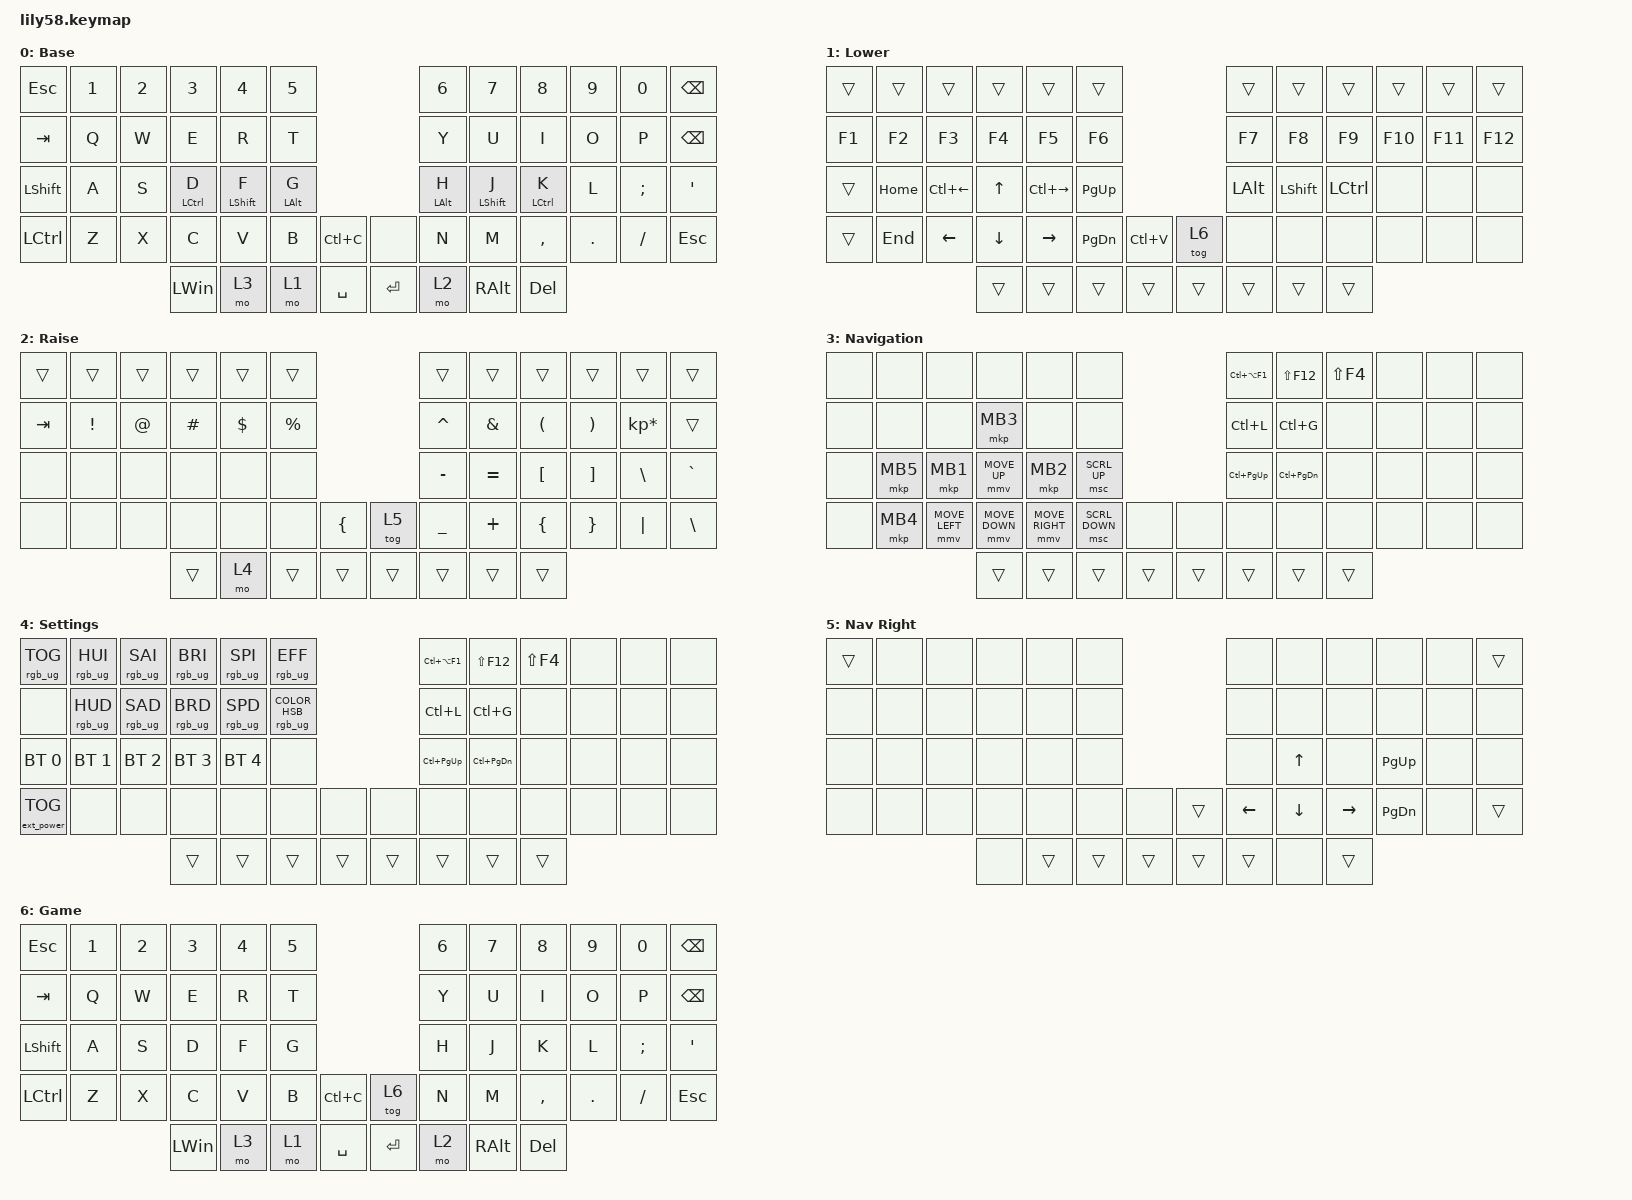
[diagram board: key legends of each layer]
/*
 * Copyright (c) 2020 The ZMK Contributors
 *
 * SPDX-License-Identifier: MIT
 */

#include <behaviors.dtsi>
#include <dt-bindings/zmk/bt.h>
#include <dt-bindings/zmk/ext_power.h>
#include <dt-bindings/zmk/keys.h>
#include <dt-bindings/zmk/pointing.h>
#include <dt-bindings/zmk/rgb.h>

&led_strip { chain-length = <35>; };

/ {
    behaviors {
        hml: home_row_mod_left {
            compatible = "zmk,behavior-hold-tap";
            label = "HML";
            bindings = <&kp>, <&kp>;

            #binding-cells = <2>;
            tapping-term-ms = <280>;
            quick-tap-ms = <175>;
            require-prior-idle-ms = <75>;
            flavor = "balanced";
            hold-trigger-on-release;
            hold-trigger-key-positions = <54 43 55 57 56 44 45 46 47 48 49 35 34 33 32 31 30 18 19 20 21 23 22 6 7 8 9 10 11>;
        };

        hmr: home_row_mod_right {
            compatible = "zmk,behavior-hold-tap";
            label = "HMR";
            bindings = <&kp>, <&kp>;

            #binding-cells = <2>;
            tapping-term-ms = <280>;
            quick-tap-ms = <175>;
            require-prior-idle-ms = <75>;
            flavor = "balanced";
            hold-trigger-on-release;
            hold-trigger-key-positions = <0 2 1 5 3 4 12 13 14 16 17 15 24 36 25 37 26 38 27 39 28 40 29 41 42 53 52 51 50>;
        };
    };

    keymap {
        compatible = "zmk,keymap";

        default_layer {
            // ------------------------------------------------------------------------------------------------------------
            // |  ESC  |  1  |  2  |  3   |  4   |  5   |                   |  6   |  7    |  8    |  9   |   0   |   `   |
            // |  TAB  |  Q  |  W  |  E   |  R   |  T   |                   |  Y   |  U    |  I    |  O   |   P   |   -   |
            // |  CTRL |  A  |  S  |  D   |  F   |  G   |                   |  H   |  J    |  K    |  L   |   ;   |   '   |
            // | SHIFT |  Z  |  X  |  C   |  V   |  B   |   "["  |  |  "]"  |  N   |  M    |  ,    |  .   |   /   | SHIFT |
            //                     | ALT  | GUI  | LOWER|  SPACE |  | ENTER | RAISE| BSPC  | GUI   |

            display-name = "Base";
            bindings = <
&kp ESC           &kp N1  &kp N2  &kp N3               &kp N4             &kp N5                                 &kp N6           &kp N7             &kp N8               &kp N9   &kp N0    &kp BACKSPACE
&kp TAB           &kp Q   &kp W   &kp E                &kp R              &kp T                                  &kp Y            &kp U              &kp I                &kp O    &kp P     &kp BACKSPACE
&kp LEFT_SHIFT    &kp A   &kp S   &hml LEFT_CONTROL D  &hml LEFT_SHIFT F  &hml LEFT_ALT G                        &hmr LEFT_ALT H  &hmr LEFT_SHIFT J  &hmr LEFT_CONTROL K  &kp L    &kp SEMI  &kp SQT
&kp LEFT_CONTROL  &kp Z   &kp X   &kp C                &kp V              &kp B            &kp LC(C)    &none    &kp N            &kp M              &kp COMMA            &kp DOT  &kp FSLH  &kp ESCAPE
                                  &kp LEFT_WIN         &mo 3              &mo 1            &kp SPACE    &kp RET  &mo 2            &kp RIGHT_ALT      &kp DEL
            >;
        };

        lower_layer {
            // ------------------------------------------------------------------------------------------------------------
            // | BTCLR | BT1 | BT2 |  BT3 |  BT4 |  BT5 |                   |      |       |       |      |       |       |
            // |  F1   |  F2 |  F3 |  F4  |  F5  |  F6  |                   |  F7  |  F8   |  F9   |  F10 |  F11  |  F12  |
            // |   `   |  !  |  @  |  #   |  $   |  %   |                   |  ^   |  &    |  *    |  (   |   )   |   ~   |
            // |       |     |     |      |      |      |        |  |       |      |  _    |  +    |  {   |   }   |  "|"  |
            //                     |      |      |      |        |  |       |      |       |       |

            display-name = "Lower";
            bindings = <
&trans  &trans    &trans          &trans          &trans           &trans                              &trans        &trans          &trans            &trans   &trans   &trans
&kp F1  &kp F2    &kp F3          &kp F4          &kp F5           &kp F6                              &kp F7        &kp F8          &kp F9            &kp F10  &kp F11  &kp F12
&trans  &kp HOME  &kp LC(LEFT)    &kp UP_ARROW    &kp LC(RIGHT)    &kp PAGE_UP                         &kp LEFT_ALT  &kp LEFT_SHIFT  &kp LEFT_CONTROL  &none    &none    &none
&trans  &kp END   &kp LEFT_ARROW  &kp DOWN_ARROW  &kp RIGHT_ARROW  &kp PAGE_DOWN  &kp LC(V)    &tog 6  &none         &none           &none             &none    &none    &none
                                  &trans          &trans           &trans         &trans       &trans  &trans        &trans          &trans
            >;
        };

        raise_layer {
            // ------------------------------------------------------------------------------------------------------------
            // |       |     |     |      |      |      |                   |      |       |       |      |       |       |
            // |   `   |  1  |  2  |  3   |  4   |  5   |                   |  6   |   7   |   8   |  9   |   0   |       |
            // |   F1  |  F2 |  F3 |  F4  |  F5  |  F6  |                   |      |   <-  |   v   |  ^   |  ->   |       |
            // |   F7  |  F8 |  F9 |  F10 |  F11 |  F12 |        |  |       |  +   |   -   |   =   |  [   |   ]   |   \   |
            //                     |      |      |      |        |  |       |      |       |       |

            display-name = "Raise";
            bindings = <
&trans   &trans    &trans  &trans    &trans      &trans                                 &trans          &trans         &trans                &trans                 &trans           &trans
&kp TAB  &kp EXCL  &kp AT  &kp HASH  &kp DOLLAR  &kp PERCENT                            &kp CARET       &kp AMPERSAND  &kp LEFT_PARENTHESIS  &kp RIGHT_PARENTHESIS  &kp KP_ASTERISK  &trans
&none    &none     &none   &none     &none       &none                                  &kp MINUS       &kp EQUAL      &kp LEFT_BRACKET      &kp RIGHT_BRACKET      &kp BACKSLASH    &kp GRAVE
&none    &none     &none   &none     &none       &none        &kp LEFT_BRACE    &tog 5  &kp UNDERSCORE  &kp PLUS       &kp LEFT_BRACE        &kp RIGHT_BRACE        &kp PIPE         &kp BSLH
                           &trans    &mo 4       &trans       &trans            &trans  &trans          &trans         &trans
            >;
        };

        navigation_layer {
            bindings = <
&none  &none     &none           &none           &none            &none                             &kp LC(LA(F1))   &kp LS(F12)        &kp LS(F4)  &none  &none  &none
&none  &none     &none           &mkp MB3        &none            &none                             &kp LC(L)        &kp LC(G)          &none       &none  &none  &none
&none  &mkp MB5  &mkp MB1        &mmv MOVE_UP    &mkp MB2         &msc SCRL_UP                      &kp LC(PAGE_UP)  &kp LC(PAGE_DOWN)  &none       &none  &none  &none
&none  &mkp MB4  &mmv MOVE_LEFT  &mmv MOVE_DOWN  &mmv MOVE_RIGHT  &msc SCRL_DOWN  &none     &none   &none            &none              &none       &none  &none  &none
                                 &trans          &trans           &trans          &trans    &trans  &trans           &trans             &trans
            >;

            label = "Navigation";
        };

        settings_layer {
            bindings = <
&rgb_ug RGB_TOG    &rgb_ug RGB_HUI  &rgb_ug RGB_SAI  &rgb_ug RGB_BRI  &rgb_ug RGB_SPI  &rgb_ug RGB_EFF                                   &kp LC(LA(F1))   &kp LS(F12)        &kp LS(F4)  &none  &none  &none
&none              &rgb_ug RGB_HUD  &rgb_ug RGB_SAD  &rgb_ug RGB_BRD  &rgb_ug RGB_SPD  &rgb_ug RGB_COLOR_HSB(0,0,100)                    &kp LC(L)        &kp LC(G)          &none       &none  &none  &none
&bt BT_SEL 0       &bt BT_SEL 1     &bt BT_SEL 2     &bt BT_SEL 3     &bt BT_SEL 4     &none                                             &kp LC(PAGE_UP)  &kp LC(PAGE_DOWN)  &none       &none  &none  &none
&ext_power EP_TOG  &none            &none            &none            &none            &none                           &none     &none   &none            &none              &none       &none  &none  &none
                                                     &trans           &trans           &trans                          &trans    &trans  &trans           &trans             &trans
            >;

            label = "Settings";
        };

        navigation_layer_right {
            bindings = <
&trans  &none  &none  &none  &none   &none                     &none           &none           &none            &none          &none  &trans
&none   &none  &none  &none  &none   &none                     &none           &none           &none            &none          &none  &none
&none   &none  &none  &none  &none   &none                     &none           &kp UP_ARROW    &none            &kp PAGE_UP    &none  &none
&none   &none  &none  &none  &none   &none   &none     &trans  &kp LEFT_ARROW  &kp DOWN_ARROW  &kp RIGHT_ARROW  &kp PAGE_DOWN  &none  &trans
                      &none  &trans  &trans  &trans    &trans  &trans          &none           &trans
            >;

            label = "Nav Right";
        };

        Game {
            display-name = "Game";
            bindings = <
&kp ESC           &kp N1  &kp N2  &kp N3        &kp N4  &kp N5                        &kp N6  &kp N7         &kp N8     &kp N9   &kp N0    &kp BACKSPACE
&kp TAB           &kp Q   &kp W   &kp E         &kp R   &kp T                         &kp Y   &kp U          &kp I      &kp O    &kp P     &kp BACKSPACE
&kp LEFT_SHIFT    &kp A   &kp S   &kp D         &kp F   &kp G                         &kp H   &kp J          &kp K      &kp L    &kp SEMI  &kp SQT
&kp LEFT_CONTROL  &kp Z   &kp X   &kp C         &kp V   &kp B   &kp LC(C)    &tog 6   &kp N   &kp M          &kp COMMA  &kp DOT  &kp FSLH  &kp ESCAPE
                                  &kp LEFT_WIN  &mo 3   &mo 1   &kp SPACE    &kp RET  &mo 2   &kp RIGHT_ALT  &kp DEL
            >;
        };
    };
};
